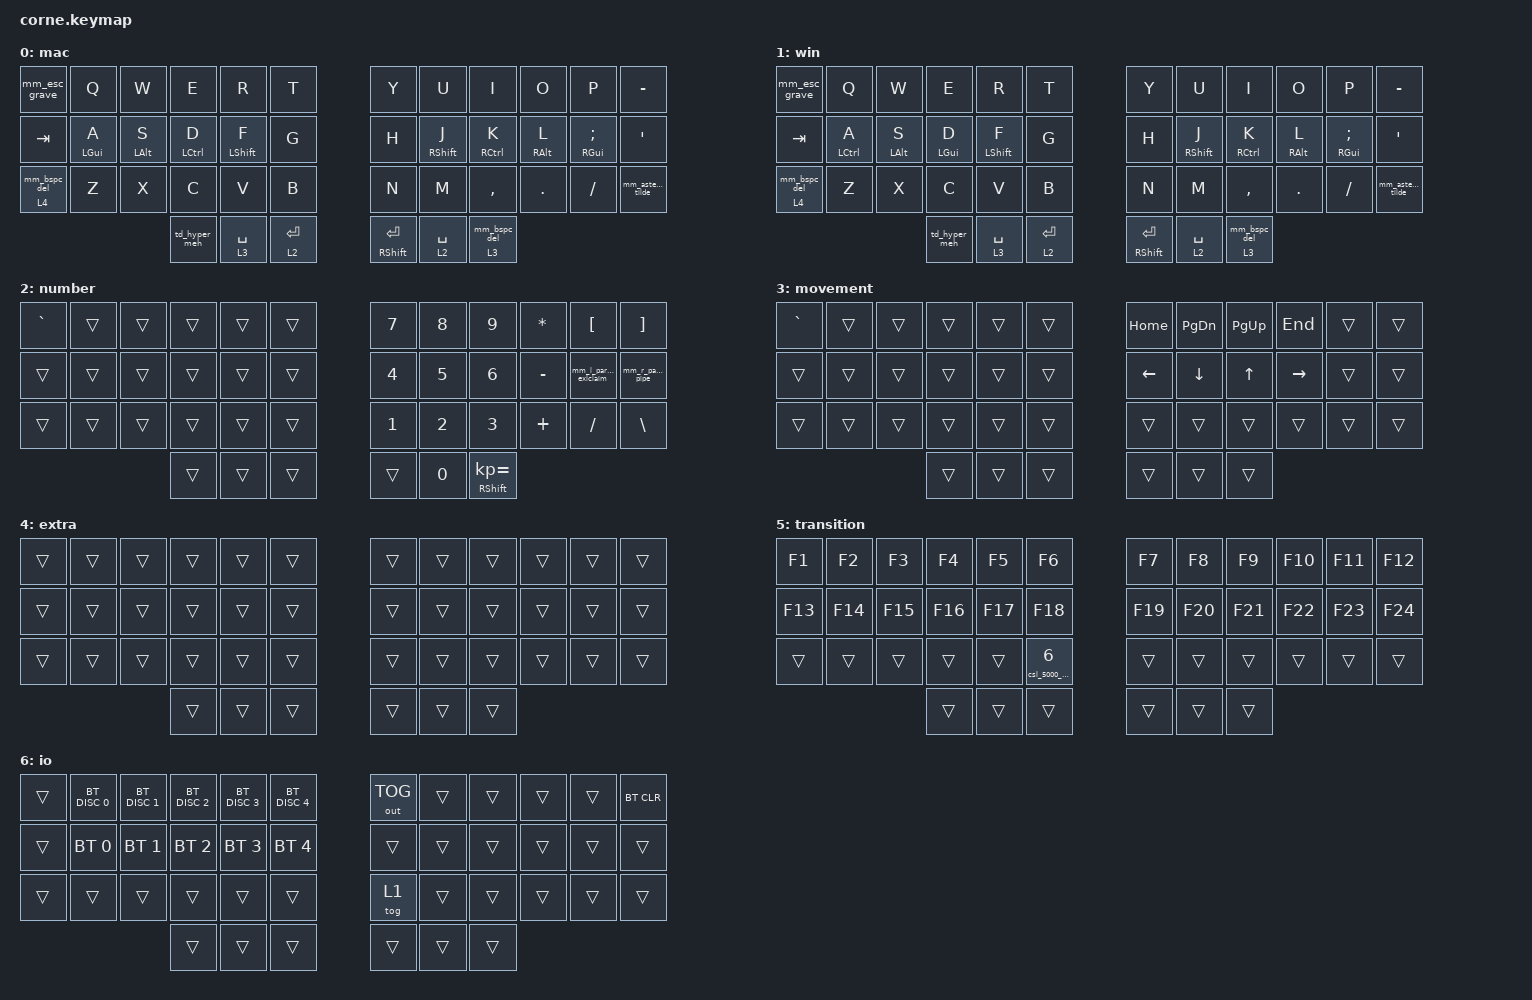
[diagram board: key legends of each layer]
// ┏━━━━━━━━━━━━━━━━━━━━━━━━━━━━━━━━━━━━━━━━━━┓
// ┃  ZMK Corne Configuration                 ┃
// ┣━━━━━━━━━━━━━━━━━━━━━━━━━━━━━━━━━━━━━━━━━━┫
// ┃  ajpemok                                 ┃
// ┃  Corne 42 Key Layout                     ┃
// ┗━━━━━━━━━━━━━━━━━━━━━━━━━━━━━━━━━━━━━━━━━━┛

#include <dt-bindings/zmk/behaviors.h>
#include <behaviors.dtsi>
#include <dt-bindings/zmk/bt.h>
#include <dt-bindings/zmk/keys.h>
#include <dt-bindings/zmk/outputs.h>

// ╔════════════════════════════════════════════════════════════════════════════════════════════════════════════════════╗
// ║  Configuration Variables Reference                                                                                 ║
// ╠════════════════════════════════════════════════════════════════════════════════════════════════════════════════════╣
// ║  Global timing constants and logic gates for hold-taps, mod-morphs, and custom macros.                             ║
// ╚════════════════════════════════════════════════════════════════════════════════════════════════════════════════════╝
// ╔════════════════════════════════════════════════════════════════════════════════════════════════════════════════════╗
// ║  Hold-Tap Configuration Guide                                                                                      ║
// ╠════════════════════════════════════════════════════════════════════════════════════════════════════════════════════╣
// ║  Sourced from: https://zmk.dev/docs/keymaps/behaviors/hold-tap                                                     ║
// ╚════════════════════════════════════════════════════════════════════════════════════════════════════════════════════╝
// ┌────────────────────────────────────────────────────────────────────────────────────────────────────────────────────┐
// │  INTERRUPT FLAVORS (Logic Decision Trees):                                                                         │
// │  - hold-preferred: Triggers hold if tapping-term-ms expires OR another key is pressed. (ZMK Default for &mt)       │
// │  - balanced: Triggers hold if term expires OR another key is pressed AND released. (Best for "Permissive" typing)  │
// │  - tap-preferred: Triggers hold ONLY if term expires. Interrupts (other key presses) do not force a hold.          │
// │  - tap-unless-interrupted: Inverts logic; triggers hold ONLY if interrupted before the term expires.               │
// │                                                                                                                    │
// │  ADVANCED TUNING PARAMETERS:                                                                                       │
// │  - require-prior-idle-ms: If a key is struck within this window of a previous press, it forces a tap. Effectively  │
// │    disables modifiers during active typing bursts to eliminate "accidental shift" misfires.                        │
// │  - hold-trigger-key-positions: Defines "Global Positional Tap". If an interrupting key is NOT in this list, the    │
// │    hold-tap resolves to a tap immediately. Crucial for keeping modifiers hand-isolated on split boards.            │
// │  - hold-trigger-on-release: Delays the evaluation of the trigger position until the second key is released.        │
// │    Allows for modifier stacking (e.g., holding two HRM keys on the same hand to combine them).                     │
// │  - retro-tap: Performs the tap action on release if the term expired but no other key was pressed. Required if     │
// │    you want a key to act as a modifier for mouse clicks but still type its letter when tapped alone.               │
// │  - hold-while-undecided: Sends the hold behavior to the host immediately while waiting for the tap/hold decision.  │
// └────────────────────────────────────────────────────────────────────────────────────────────────────────────────────┘

/ {
    macros {
        // ╔══════════════════════════════════════════╗
        // ║  Macros                                  ║
        // ╚══════════════════════════════════════════╝

        // › custom holdable hyper: ctrl+alt+shift+gui
        hyper_mod: hyper_mod {
            compatible = "zmk,behavior-macro";
            #binding-cells = <0>;
            wait-ms = <0>;
            tap-ms = <0>;
            bindings =
                <&macro_press>,
                <&kp LCTRL &kp LALT &kp LSHFT &kp LGUI>,
                <&macro_pause_for_release>,
                <&macro_release>,
                <&kp LCTRL &kp LALT &kp LSHFT &kp LGUI>;
        };

        // › custom holdable meh: ctrl+alt+shift
        meh_mod: meh_mod {
            compatible = "zmk,behavior-macro";
            #binding-cells = <0>;
            wait-ms = <0>;
            tap-ms = <0>;
            bindings =
                <&macro_press>,
                <&kp LCTRL &kp LALT &kp LSHFT>,
                <&macro_pause_for_release>,
                <&macro_release>,
                <&kp LCTRL &kp LALT &kp LSHFT>;
        };
    };

    behaviors {
        // ╔══════════════════════════════════════════╗
        // ║  1. Home Row Mods                        ║
        // ╠══════════════════════════════════════════╣
        // ║  hand-blocked modifiers for the          ║
        // ║  primary alpha keys                      ║
        // ║  using <&kp>, <&kp> bindings             ║
        // ╚══════════════════════════════════════════╝

        // › balanced, right-hand triggered; standard left HRM
        mt_home_row_mod_left: home_row_mod_left {
            compatible = "zmk,behavior-hold-tap";
            label = "HRM_LEFT";
            bindings = <&kp>, <&kp>;

            #binding-cells = <2>;
            tapping-term-ms = <250>;
            quick-tap-ms = <150>;
            require-prior-idle-ms = <150>;
            flavor = "balanced";
            hold-trigger-key-positions = <6 7 8 9 10 11 18 19 20 21 22 23 30 31 32 33 34 35 39 40 41>;
            hold-trigger-on-release;
        };

        // › balanced, left-hand triggered; standard right HRM
        mt_home_row_mod_right: home_row_mod_right {
            compatible = "zmk,behavior-hold-tap";
            label = "HRM_RIGHT";
            bindings = <&kp>, <&kp>;

            #binding-cells = <2>;
            tapping-term-ms = <250>;
            quick-tap-ms = <150>;
            require-prior-idle-ms = <150>;
            flavor = "balanced";
            hold-trigger-key-positions = <0 1 2 3 4 5 12 13 14 15 16 17 24 25 26 27 28 29 36 37 38>;
            hold-trigger-on-release;
        };

        // ╔══════════════════════════════════════════╗
        // ║  2. Layer (Hold) Taps (CLT)              ║
        // ╠══════════════════════════════════════════╣
        // ║  variants for momentary layer shifts     ║
        // ║  using <&mo>, <&kp> bindings             ║
        // ╚══════════════════════════════════════════╝

        // › tap-preferred: taps win ties; good for thumb keys where taps dominate and holds are deliberate
        clt_tap_pref: layer_tap_pref {
            compatible = "zmk,behavior-hold-tap";
            label = "CLT_TAP_PREF";
            bindings = <&mo>, <&kp>;

            #binding-cells = <2>;
            flavor = "tap-preferred";
            tapping-term-ms = <150>;
            quick-tap-ms = <125>;
        };

        // › balanced: resolves on interrupt release; good for thumb keys where rolls into layer keys are common
        clt_balanced: layer_tap_balanced {
            compatible = "zmk,behavior-hold-tap";
            label = "CLT_BALANCED";
            bindings = <&mo>, <&kp>;

            #binding-cells = <2>;
            flavor = "balanced";
            tapping-term-ms = <200>;
            quick-tap-ms = <150>;
        };

        // › bal + hwu: layer activates immediately on any key press; best when any key should resolve the hold instantly
        clt_bal_hwu: layer_tap_bal_hwu {
            compatible = "zmk,behavior-hold-tap";
            label = "CLT_BAL_HWU";
            bindings = <&mo>, <&kp>;

            #binding-cells = <2>;
            flavor = "balanced";
            tapping-term-ms = <200>;
            quick-tap-ms = <150>;
            hold-while-undecided;
        };

        // › bal + hwu + linger: layer fires instantly and stays active until tap key releases too; best when any key should trigger linger behaviour
        clt_bal_hwu_linger: layer_tap_bal_hwu_linger {
            compatible = "zmk,behavior-hold-tap";
            label = "CLT_BAL_HWU_LGR";
            bindings = <&mo>, <&kp>;

            #binding-cells = <2>;
            flavor = "balanced";
            tapping-term-ms = <200>;
            quick-tap-ms = <150>;
            hold-while-undecided;
            hold-while-undecided-linger;
        };

        // › tap-preferred + retro: fires tap on timeout with no interrupt; best when any key should allow retro tap fallback
        clt_retro: layer_tap_retro {
            compatible = "zmk,behavior-hold-tap";
            label = "CLT_RETRO";
            bindings = <&mo>, <&kp>;

            #binding-cells = <2>;
            flavor = "tap-preferred";
            tapping-term-ms = <200>;
            quick-tap-ms = <150>;
            retro-tap;
        };

        // › bal + hwu + retro: layer fires straight away but sends tap on release if nothing interrupted; best when any key should trigger both instant hold and retro tap fallback
        clt_bal_hwu_retro: layer_tap_bal_hwu_retro {
            compatible = "zmk,behavior-hold-tap";
            label = "CLT_BAL_HWU_RTO";
            bindings = <&mo>, <&kp>;

            #binding-cells = <2>;
            flavor = "balanced";
            tapping-term-ms = <200>;
            quick-tap-ms = <150>;
            hold-while-undecided;
            retro-tap;
        };

        // ╔══════════════════════════════════════════╗
        // ║  3. Hold Taps (CHT)                      ║
        // ╠══════════════════════════════════════════╣
        // ║  variants for custom modifiers           ║
        // ║  using <&kp>, <&kp> bindings             ║
        // ╚══════════════════════════════════════════╝

        // › balanced: solid general-purpose modifier; resolves hold when interrupt is pressed and released within tapping-term
        cht_balanced: hold_tap_balanced {
            compatible = "zmk,behavior-hold-tap";
            label = "CHT_BALANCED";
            bindings = <&kp>, <&kp>;

            #binding-cells = <2>;
            tapping-term-ms = <200>;
            quick-tap-ms = <150>;
            require-prior-idle-ms = <150>;
            flavor = "balanced";
        };

        // › tap-unless-interrupted: hold only fires if another key cuts in before tapping-term; best for keys that should almost always tap
        cht_tui: hold_tap_tui {
            compatible = "zmk,behavior-hold-tap";
            label = "CHT_TUI";
            bindings = <&kp>, <&kp>;

            #binding-cells = <2>;
            tapping-term-ms = <200>;
            quick-tap-ms = <150>;
            require-prior-idle-ms = <150>;
            flavor = "tap-unless-interrupted";
        };

        // › tap-preferred + retro: fires tap on release if nothing interrupted; good for punctuation or symbol keys that rarely need their hold mod
        cht_retro: hold_tap_retro {
            compatible = "zmk,behavior-hold-tap";
            label = "CHT_RETRO";
            bindings = <&kp>, <&kp>;

            #binding-cells = <2>;
            tapping-term-ms = <150>;
            quick-tap-ms = <125>;
            retro-tap;
            flavor = "tap-preferred";
        };

        // › bal + hwu: modifier activates immediately on any key press; best when any key should resolve the hold instantly
        cht_bal_hwu: hold_tap_bal_hwu {
            compatible = "zmk,behavior-hold-tap";
            label = "CHT_BAL_HWU";
            bindings = <&kp>, <&kp>;

            #binding-cells = <2>;
            tapping-term-ms = <200>;
            quick-tap-ms = <150>;
            require-prior-idle-ms = <150>;
            flavor = "balanced";
            hold-while-undecided;
        };

        // › bal + hwu + linger: modifier fires instantly and stays held until tap key lifts; best when any key should trigger linger behaviour
        cht_bal_hwu_linger: hold_tap_bal_hwu_linger {
            compatible = "zmk,behavior-hold-tap";
            label = "CHT_BAL_HWU_LGR";
            bindings = <&kp>, <&kp>;

            #binding-cells = <2>;
            tapping-term-ms = <200>;
            quick-tap-ms = <150>;
            require-prior-idle-ms = <150>;
            flavor = "balanced";
            hold-while-undecided;
            hold-while-undecided-linger;
        };

        // › bal + hwu + retro: modifier fires straight away but sends tap on release if nothing interrupted; best when any key should trigger both instant hold and retro tap fallback
        cht_bal_hwu_retro: hold_tap_bal_hwu_retro {
            compatible = "zmk,behavior-hold-tap";
            label = "CHT_BAL_HWU_RTO";
            bindings = <&kp>, <&kp>;

            #binding-cells = <2>;
            tapping-term-ms = <200>;
            quick-tap-ms = <150>;
            require-prior-idle-ms = <150>;
            flavor = "balanced";
            hold-while-undecided;
            retro-tap;
        };

        // ╔══════════════════════════════════════════╗
        // ║  4. Tap-Dances                           ║
        // ╚══════════════════════════════════════════╝

        // › single: hyper, double: meh
        td_hyper_meh: dance_hyper_meh {
            compatible = "zmk,behavior-tap-dance";
            label = "TD_HYPER_MEH";
            #binding-cells = <0>;
            bindings = <&hyper_mod>, <&meh_mod>;

            tapping-term-ms = <175>;
        };

        // › single: meh, double: hyper
        td_meh_hyper: dance_meh_hyper {
            compatible = "zmk,behavior-tap-dance";
            label = "TD_MEH_HYPER";
            #binding-cells = <0>;
            bindings = <&meh_mod>, <&hyper_mod>;

            tapping-term-ms = <175>;
        };

        // › single: caps word, double: caps lock
        td_caps_word: dance_caps_word {
            compatible = "zmk,behavior-tap-dance";
            label = "TD_CAPS_WORD";
            #binding-cells = <0>;
            tapping-term-ms = <200>;
            bindings = <&caps_word>, <&kp CAPSLOCK>;
        };

        // ╔══════════════════════════════════════════╗
        // ║  5. Mod-Morphs                           ║
        // ╚══════════════════════════════════════════╝

        // › default: backspace, shifted: delete
        mm_bspc_del: morph_bspc_del {
            compatible = "zmk,behavior-mod-morph";
            label = "MM_BSPC_DEL";
            bindings = <&kp BACKSPACE>, <&kp DELETE>;

            #binding-cells = <0>;
            mods = <(MOD_LSFT|MOD_RSFT)>;
        };

        // › default: esc, shifted: grave
        mm_esc_grave: morph_esc_grave {
            compatible = "zmk,behavior-mod-morph";
            label = "MM_ESC_GRAVE";
            bindings = <&kp ESC>, <&kp GRAVE>;

            #binding-cells = <0>;
            mods = <(MOD_LSFT|MOD_RSFT)>;
        };

        // › default: *, shifted: ~
        mm_asterisk_tilde: morph_asterisk_tilde {
            compatible = "zmk,behavior-mod-morph";
            label = "MM_ASTERISK_TILDE";
            bindings = <&kp ASTERISK>, <&kp TILDE>;

            #binding-cells = <0>;
            mods = <(MOD_LSFT|MOD_RSFT)>;
        };

        // › default: (, shifted: !
        mm_l_parenth_exlclaim: morph_l_parenth_exclaim {
            compatible = "zmk,behavior-mod-morph";
            label = "MM_L_PARENTH_EXCLAIM";
            bindings = <&kp LEFT_PARENTHESIS>, <&kp EXCLAMATION>;

            #binding-cells = <0>;
            mods = <(MOD_LSFT|MOD_RSFT)>;
        };

        // › default: ), shifted: |
        mm_r_parenth_pipe: morph_r_parenth_pipe {
            compatible = "zmk,behavior-mod-morph";
            label = "MM_R_PARENTH_PIPE";
            bindings = <&kp RIGHT_PARENTHESIS>, <&kp PIPE>;

            #binding-cells = <0>;
            mods = <(MOD_LSFT|MOD_RSFT)>;
        };

        // ╔══════════════════════════════════════════╗
        // ║  6. Mod-Morph Hold Taps                  ║
        // ╠══════════════════════════════════════════╣
        // ║  hold-tap wrappers with mod-morph taps   ║
        // ║  tap param is unused; pass 0 in keymap   ║
        // ╚══════════════════════════════════════════╝

        // › hold: layer, tap: mod-morphed -> bspc / shifted: del
        clt_mm_bal_bspc_del: layer_tap_morph_bal_bspc_del {
            compatible = "zmk,behavior-hold-tap";
            label = "CLT_MM_BAL_BSPC_DEL";
            bindings = <&mo>, <&mm_bspc_del>;

            #binding-cells = <2>;
            flavor = "balanced";
            tapping-term-ms = <200>;
            quick-tap-ms = <150>;
        };

        // ╔══════════════════════════════════════════╗
        // ║  7. Custom Sticky Keys                   ║
        // ╠══════════════════════════════════════════╣
        // ║  default release-after-ms is: 1000ms     ║
        // ╚══════════════════════════════════════════╝

        // › defaullt sticky key with custom 5000ms timeout
        csl_5000: sticky_layer_5000 {
            compatible = "zmk,behavior-sticky-key";
            label = "CSL_5000";
            #binding-cells = <1>;
            bindings = <&mo>;
            release-after-ms = <5000>;
        };

        // › ignore-modifiers variant to be more forgiving for chording layer keys through modifiers
        csl_5000_ignore_mods: sticky_layer_5000_ignore_mods {
            compatible = "zmk,behavior-sticky-key";
            label = "CSL_5000_IGNORE_MODS";
            #binding-cells = <1>;
            bindings = <&mo>;
            release-after-ms = <5000>;
            ignore-modifiers;
        };

        // › ignore-modifiers + quick-release variant for also returming to the base layer immediately
        csl_5000_im_qr: sticky_layer_5000_ignore_mods_quick_rel {
            compatible = "zmk,behavior-sticky-key";
            label = "CSL_5000_IGNORE_MODS_QUICK_REL";
            #binding-cells = <1>;
            bindings = <&mo>;
            release-after-ms = <5000>;
            ignore-modifiers;
            quick-release;
        };

    };

    combos {
        // ╔══════════════════════════════════════════╗
        // ║  Combos                                  ║
        // ╠══════════════════════════════════════════╣
        // ║  simultaneous key triggers for           ║
        // ║  shortcuts and utility actions           ║
        // ╚══════════════════════════════════════════╝

        compatible = "zmk,combos";

        // › use case: J+K simultaneously sends Backspace on all primary layers
        combo_jk_backspace {
            timeout-ms = <40>;
            bindings = <&kp BACKSPACE>;
            key-positions = <19 20>;
            layers = <0 1 2>;
        };

        // › use case: M+, simultaneously sends Delete on all primary layers
        combo_m_comma_delete {
            timeout-ms = <40>;
            bindings = <&kp DELETE>;
            key-positions = <31 32>;
            layers = <0 1 2>;
        };
    };

    conditional_layers {
        compatible = "zmk,conditional-layers";

        // ╔══════════════════════════════════════════╗
        // ║  Conditional Layers                      ║
        // ╠══════════════════════════════════════════╣
        // ║  layers that activate when multiple      ║
        // ║  other layers are held simultaneously    ║
        // ╚══════════════════════════════════════════╝

        // › use case: number + movement simultaneously activates transition
        transition_layer {
            if-layers = <3 2>;
            then-layer = <5>;
        };
    };

    keymap {
        compatible = "zmk,keymap";

        // ╔══════════════════════════════════════════╗
        // ║  Keymap                                  ║
        // ╠══════════════════════════════════════════╣
        // ║  layer definitions mapping physical      ║
        // ║  keys to behaviours and key codes        ║
        // ╚══════════════════════════════════════════╝

        mac {
            display-name = "mac";
            bindings = <
&mm_esc_grave             &kp Q                             &kp W                             &kp E                          &kp R                          &kp T                   &kp Y                           &kp U                                 &kp I                           &kp O                               &kp P                                       &kp MINUS
&kp TAB                   &mt_home_row_mod_left LEFT_GUI A  &mt_home_row_mod_left LEFT_ALT S  &mt_home_row_mod_left LCTRL D  &mt_home_row_mod_left LSHFT F  &kp G                   &kp H                           &mt_home_row_mod_right RIGHT_SHIFT J  &mt_home_row_mod_right RCTRL K  &mt_home_row_mod_right RIGHT_ALT L  &mt_home_row_mod_right RIGHT_GUI SEMICOLON  &kp SQT
&clt_mm_bal_bspc_del 4 0  &kp Z                             &kp X                             &kp C                          &kp V                          &kp B                   &kp N                           &kp M                                 &kp COMMA                       &kp DOT                             &kp SLASH                                   &mm_asterisk_tilde
                                                                                              &td_hyper_meh                  &clt_balanced 3 SPACE          &clt_bal_hwu 2 ENTER    &cht_bal_hwu RIGHT_SHIFT ENTER  &clt_balanced 2 SPACE                 &clt_mm_bal_bspc_del 3 0
            >;
        };

        win {
            display-name = "win";
            bindings = <
&mm_esc_grave             &kp Q                                 &kp W                             &kp E                             &kp R                          &kp T                   &kp Y                           &kp U                                 &kp I                           &kp O                               &kp P                                       &kp MINUS
&kp TAB                   &mt_home_row_mod_left LEFT_CONTROL A  &mt_home_row_mod_left LEFT_ALT S  &mt_home_row_mod_left LEFT_GUI D  &mt_home_row_mod_left LSHFT F  &kp G                   &kp H                           &mt_home_row_mod_right RIGHT_SHIFT J  &mt_home_row_mod_right RCTRL K  &mt_home_row_mod_right RIGHT_ALT L  &mt_home_row_mod_right RIGHT_GUI SEMICOLON  &kp SQT
&clt_mm_bal_bspc_del 4 0  &kp Z                                 &kp X                             &kp C                             &kp V                          &kp B                   &kp N                           &kp M                                 &kp COMMA                       &kp DOT                             &kp SLASH                                   &mm_asterisk_tilde
                                                                                                  &td_hyper_meh                     &clt_balanced 3 SPACE          &clt_bal_hwu 2 ENTER    &cht_bal_hwu RIGHT_SHIFT ENTER  &clt_balanced 2 SPACE                 &clt_mm_bal_bspc_del 3 0
            >;
        };

        number {
            display-name = "number";
            bindings = <
&kp GRAVE  &trans  &trans  &trans  &trans  &trans    &kp N7  &kp N8  &kp N9                        &kp ASTRK  &kp LBKT                &kp RBKT
&trans     &trans  &trans  &trans  &trans  &trans    &kp N4  &kp N5  &kp N6                        &kp MINUS  &mm_l_parenth_exlclaim  &mm_r_parenth_pipe
&trans     &trans  &trans  &trans  &trans  &trans    &kp N1  &kp N2  &kp N3                        &kp PLUS   &kp FSLH                &kp BSLH
                           &trans  &trans  &trans    &trans  &kp N0  &cht_balanced RSHFT KP_EQUAL
            >;
        };

        movement {
            display-name = "movement";
            bindings = <
&kp GRAVE  &trans  &trans  &trans  &trans  &trans    &kp HOME  &kp PAGE_DOWN  &kp PAGE_UP  &kp END    &trans  &trans
&trans     &trans  &trans  &trans  &trans  &trans    &kp LEFT  &kp DOWN       &kp UP       &kp RIGHT  &trans  &trans
&trans     &trans  &trans  &trans  &trans  &trans    &trans    &trans         &trans       &trans     &trans  &trans
                           &trans  &trans  &trans    &trans    &trans         &trans
            >;
        };

        extra {
            display-name = "extra";
            bindings = <
&trans  &trans  &trans  &trans  &trans  &trans    &trans  &trans  &trans  &trans  &trans  &trans
&trans  &trans  &trans  &trans  &trans  &trans    &trans  &trans  &trans  &trans  &trans  &trans
&trans  &trans  &trans  &trans  &trans  &trans    &trans  &trans  &trans  &trans  &trans  &trans
                        &trans  &trans  &trans    &trans  &trans  &trans
            >;
        };

        transition {
            display-name = "transition";
            bindings = <
&kp F1   &kp F2   &kp F3   &kp F4   &kp F5   &kp F6                       &kp F7   &kp F8   &kp F9   &kp F10  &kp F11  &kp F12
&kp F13  &kp F14  &kp F15  &kp F16  &kp F17  &kp F18                      &kp F19  &kp F20  &kp F21  &kp F22  &kp F23  &kp F24
&trans   &trans   &trans   &trans   &trans   &csl_5000_ignore_mods 6      &trans   &trans   &trans   &trans   &trans   &trans
                                    &trans   &trans   &trans              &trans   &trans   &trans
            >;
        };

        io {
            display-name = "io";
            bindings = <
&trans  &bt BT_DISC 0  &bt BT_DISC 1  &bt BT_DISC 2  &bt BT_DISC 3  &bt BT_DISC 4    &out OUT_TOG  &trans  &trans  &trans  &trans  &bt BT_CLR
&trans  &bt BT_SEL 0   &bt BT_SEL 1   &bt BT_SEL 2   &bt BT_SEL 3   &bt BT_SEL 4     &trans        &trans  &trans  &trans  &trans  &trans
&trans  &trans         &trans         &trans         &trans         &trans           &tog 1        &trans  &trans  &trans  &trans  &trans
                                      &trans         &trans         &trans           &trans        &trans  &trans
            >;
        };
    };
};
